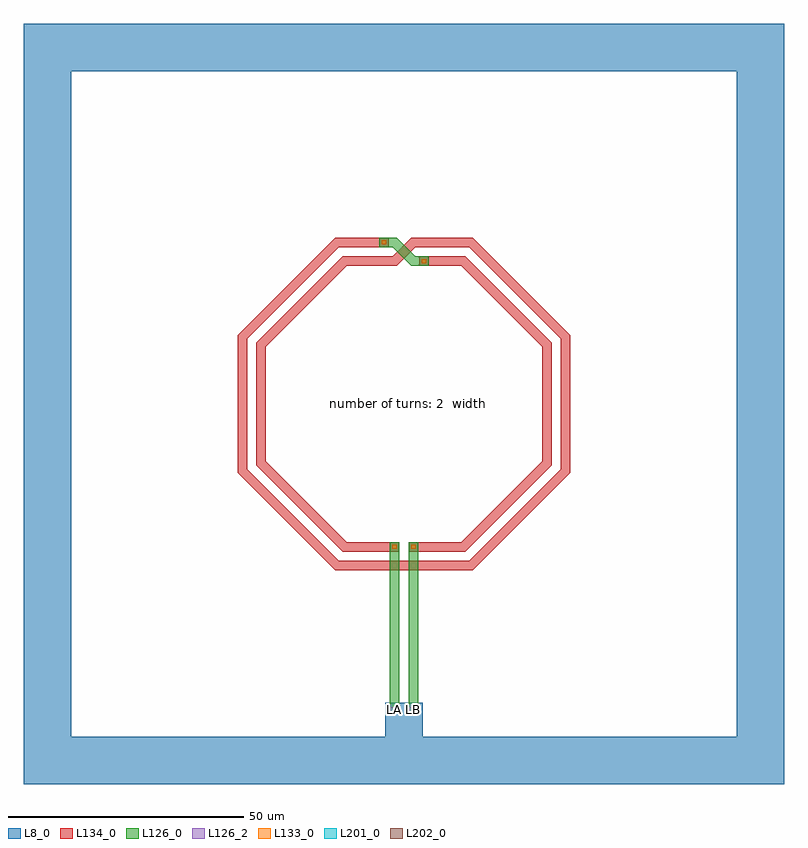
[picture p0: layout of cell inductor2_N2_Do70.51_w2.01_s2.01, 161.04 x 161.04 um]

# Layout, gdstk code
import gdstk
lib = gdstk.Library(unit=1e-6, precision=1e-09)
def R(c, l, rs):  # rectangles x0, y0, x1, y1
    for r in rs: c.add(gdstk.rectangle(r[:2], r[2:], *l))
def P(c, l, *ps):  # polygons
    for p in ps: c.add(gdstk.Polygon(p, *l))
L8_0 = (8, 0)
L126_0 = (126, 0)
L126_2 = (126, 2)
L133_0 = (133, 0)
L134_0 = (134, 0)
L201_0 = (201, 0)
L202_0 = (202, 0)

inductor2_n2_do70_51_w2_ = lib.new_cell('inductor2_N2_Do70.51_w2.01_s2.01')
R(inductor2_n2_do70_51_w2_, L8_0, [(-80.52,-80.52,-70.52,80.52), (-70.52,-80.52,70.52,-70.52), (70.52,-80.52,80.52,80.52), (-4,-70.52,4,-63.26), (-70.52,70.52,70.52,80.52)])
R(inductor2_n2_do70_51_w2_, L126_0, [(-3,-65.26,-1,-29.26), (1,-65.26,3,-29.26)])
P(inductor2_n2_do70_51_w2_, L126_0, [(-5.24,35.26),(-5.24,33.26),(-2.414,33.26),(1.586,29.26),(5.24,29.26),(5.24,31.26),(2.414,31.26),(-1.586,35.26)])
R(inductor2_n2_do70_51_w2_, L126_2, [(-3,-65.26,-1,-64.26), (1,-65.26,3,-64.26)])
R(inductor2_n2_do70_51_w2_, L133_0, [(-2.45,-30.71,-1.55,-29.81), (1.55,-30.71,2.45,-29.81), (3.8,29.81,4.7,30.71), (-4.7,33.81,-3.8,34.71)])
R(inductor2_n2_do70_51_w2_, L134_0, [(-5.245,-35.26,5.245,-33.26)])
P(inductor2_n2_do70_51_w2_, L134_0, [(-3.24,-35.26),(-3.24,-33.26),(-13.776,-33.26),(-33.26,-13.776),(-33.26,2),(-35.26,2),(-35.26,-14.604),(-14.604,-35.26)],
  [(-3.24,33.26),(-3.24,35.26),(-14.604,35.26),(-35.26,14.604),(-35.26,-2),(-33.26,-2),(-33.26,13.776),(-13.776,33.26)],
  [(3.24,-33.26),(3.24,-35.26),(14.604,-35.26),(35.26,-14.604),(35.26,2),(33.26,2),(33.26,-13.776),(13.776,-33.26)],
  [(3.24,35.26),(3.24,33.26),(13.776,33.26),(33.26,13.776),(33.26,-2),(35.26,-2),(35.26,14.604),(14.604,35.26)],
  [(-1,-31.26),(-1,-29.26),(-12.116,-29.26),(-29.26,-12.116),(-29.26,2),(-31.26,2),(-31.26,-12.944),(-12.944,-31.26)],
  [(-3.24,29.26),(-3.24,31.26),(-12.944,31.26),(-31.26,12.944),(-31.26,-2),(-29.26,-2),(-29.26,12.116),(-12.116,29.26)],
  [(1,-29.26),(1,-31.26),(12.944,-31.26),(31.26,-12.944),(31.26,2),(29.26,2),(29.26,-12.116),(12.116,-29.26)],
  [(3.24,31.26),(3.24,29.26),(12.116,29.26),(29.26,12.116),(29.26,-2),(31.26,-2),(31.26,12.944),(12.944,31.26)],
  [(-5.24,31.26),(-5.24,29.26),(-1.586,29.26),(2.414,33.26),(5.24,33.26),(5.24,35.26),(1.586,35.26),(-2.414,31.26)])
R(inductor2_n2_do70_51_w2_, L201_0, [(-3,-65.26,-1,-65.16)])
R(inductor2_n2_do70_51_w2_, L202_0, [(1,-65.26,3,-65.16)])
inductor2_n2_do70_51_w2_.add(gdstk.Label('LA', (-2,-64.76), layer=27, texttype=25))
inductor2_n2_do70_51_w2_.add(gdstk.Label('LB', (2,-64.76), layer=27, texttype=25))
inductor2_n2_do70_51_w2_.add(gdstk.Label('  number of turns: 2\n  width: 2.00\n  spacing: 2.00\n  outer diameter: 70.52\n  inner diameter: 58.52\n', (0,0), layer=63, texttype=0))

lib.write_gds('inductor2_N2_Do70.51_w2.01_s2.01.gds')
